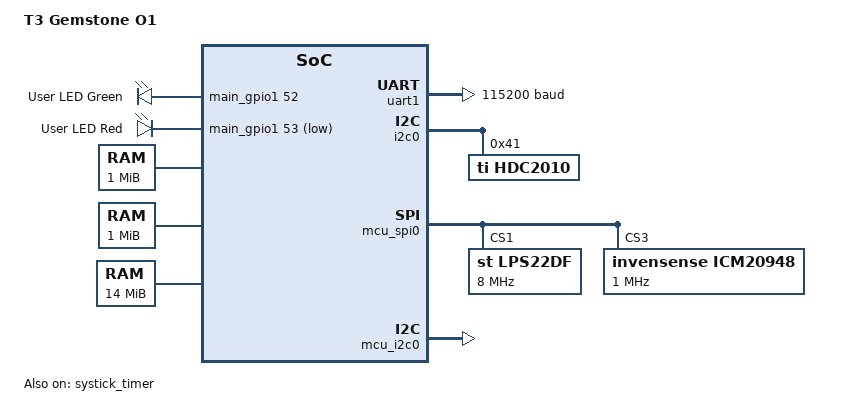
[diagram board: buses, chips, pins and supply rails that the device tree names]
/*
 * Copyright (c) 2024 Texas Instruments Incorporated
 *	Andrew Davis <afd@ti.com>
 * Copyright (c) 2026 T3 Gemstone
 *	T3 Gemstone Developer Team <support@t3gemstone.org>
 *
 * SPDX-License-Identifier: Apache-2.0
 */

/dts-v1/;

#include <ti/j722s_main_r5.dtsi>
#include "t3_gem_o1_j722s_r5f0_0-pinctrl.dtsi"
#include <freq.h>
#include <zephyr/dt-bindings/gpio/gpio.h>

/ {
	compatible = "t3gemstone,t3-gem-o1";
	model = "T3 Gemstone O1";

	chosen {
		zephyr,sram = &ddr1;
		zephyr,console = &uart1;
		zephyr,shell-uart = &uart1;
		zephyr,ipc = &ipc0;
		zephyr,ipc_shm = &ddr0;
	};

	aliases {
		led0 = &led0;
		led1 = &led1;
	};

	leds {
		compatible = "gpio-leds";

		led0: led_0 {
			gpios = <&main_gpio1 52 GPIO_ACTIVE_HIGH>;
			label = "User LED Green";
		};

		led1: led_1 {
			gpios = <&main_gpio1 53 GPIO_ACTIVE_LOW>;
			label = "User LED Red";
		};
	};

	cpus {
		cpu@0 {
			status = "okay";
		};
	};

	ipc0: ipc {
		compatible = "zephyr,mbox-ipm";
		mboxes = <&mbox3 0>, <&mbox3 1>;
		mbox-names = "tx", "rx";
	};

	ddr0: memory@a2000000 {
		compatible = "mmio-sram";
		reg = <0xa2000000 DT_SIZE_M(1)>;
	};

	rsc_table: memory@a2100000 {
		compatible = "zephyr,memory-region", "mmio-sram";
		reg = <0xa2100000 DT_SIZE_M(1)>;
		zephyr,memory-region = "RSC_TABLE";
	};

	ddr1: memory@a2200000 {
		compatible = "zephyr,memory-region", "mmio-sram";
		reg = <0xa2200000 DT_SIZE_M(14)>;
		zephyr,memory-region = "DRAM";
	};
};

&uart1 {
	pinctrl-0 = <&uart1_tx_default &uart1_rx_default>;
	pinctrl-names = "default";
	current-speed = <115200>;
	status = "okay";
};

&systick_timer {
	status = "okay";
};

/* GPIO0_33..42 on the 40-pin header */
&main_gpio0_1 {
	status = "okay";
};

/* GPIO1_7..18 on the 40-pin header */
&main_gpio1_0 {
	status = "okay";
};

/* User LEDs: GPIO1_52 (green), GPIO1_53 (red) */
&main_gpio1_1 {
	pinctrl-0 = <&led_green_default &led_red_default>;
	pinctrl-names = "default";
	status = "okay";
};

/* HDC2010 temperature and humidity sensor is on this bus at 0x41 */
&i2c0 {
	pinctrl-0 = <&i2c0_default>;
	pinctrl-names = "default";
	status = "okay";

	hdc2010: hdc2010@41 {
		compatible = "ti,hdc2010";
		reg = <0x41>;
	};
};

/* LPS22DF on chip select 1, ICM-20948 on chip select 3 */
&mcu_spi0 {
	pinctrl-0 = <&mcu_spi0_default>;
	pinctrl-names = "default";
	status = "okay";

	lps22df: lps22df@1 {
		compatible = "st,lps22df";
		reg = <1>;
		spi-max-frequency = <DT_FREQ_M(8)>;
		odr = <3>;
	};

	icm20948: icm20948@3 {
		compatible = "invensense,icm20948";
		reg = <3>;
		spi-max-frequency = <DT_FREQ_M(1)>;
	};
};

/* I2C on the 40-pin header, pin 3 (SDA) and pin 5 (SCL) */
&mcu_i2c0 {
	pinctrl-0 = <&mcu_i2c0_default>;
	pinctrl-names = "default";
	status = "okay";
};
